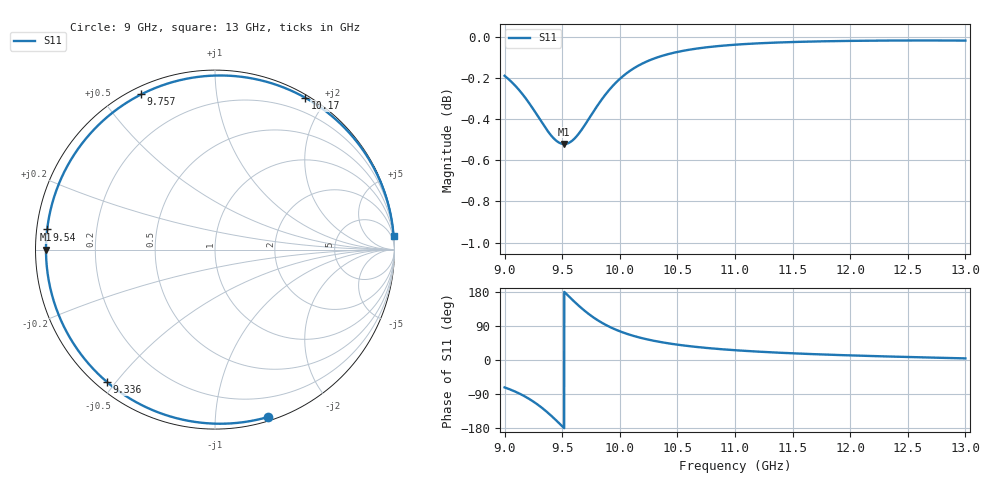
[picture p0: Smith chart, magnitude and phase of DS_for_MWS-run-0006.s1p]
! TOUCHSTONE file generated by CST DESIGN STUDIO
! Date and time: Tue Feb  4 13:38:56 2025
! Project name: C:\Work\MatlabApps\UnitCellOptimizationMatlab\CST\unitcell.cst
! Tree item: Tasks\Sweep1\SPara1\S-Parameters
! Header version: 2024
! Port assignment regex: !\s*Touchstone port\s*([0-9]+)\s*=\s*(CST MWS port|CST DES external port|CST DES block port)\s*(.+)\s* \(\"(.*)\"\)(\s*mode\s*([0-9]+))?.*
! Touchstone port assignment:
! Touchstone port 1 = CST DES external port 1 ("")
# GHz S MA R 50
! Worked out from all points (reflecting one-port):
!   4001 points, 9 GHz to 13 GHz, reference 50 ohm
!   lowest |S11| = -0.5 dB at 9.517 GHz (marker M1), VSWR 33.33, Z = 1.5 - j0.0319 ohm
!   phase of S11 starts at -72 deg and turns -283 deg over the sweep
!   S11 on the Smith chart (normalised r, x): 9 GHz: 0.03, -1.37; 9.336 GHz: 0.03, -0.48; 9.54 GHz: 0.03, +0.06; 9.757 GHz: 0.03, +0.63; 10.17 GHz: 0.03, +1.76; 13 GHz: 1, +27
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9  0.9784 -72.3
9.092  0.973 -83.4
9.196  0.965 -99.6
9.269  0.9584 -113.7
9.336  0.952 -129.1
9.381  0.948 -140.6
9.427  0.9447 -153.3
9.464  0.9428 -164.1
9.5  0.9419 -174.8
9.517  0.9417 -179.9
9.54  0.9419 173.2
9.594  0.9439 157.2
9.654  0.9481 140.4
9.705  0.9526 127.4
9.757  0.9576 115.4
9.808  0.9624 105.0
9.863  0.9672 95.1
10  0.9767 75.8
10.082  0.9809 67.0
10.172  0.9844 59.2
10.321  0.9884 49.2
10.5  0.9916 40.5
10.722  0.9939 32.7
11  0.9956 25.8
11.5  0.9971 17.6
12  0.9977 12.1
12.5  0.9979 7.9
13  0.9979 4.3
